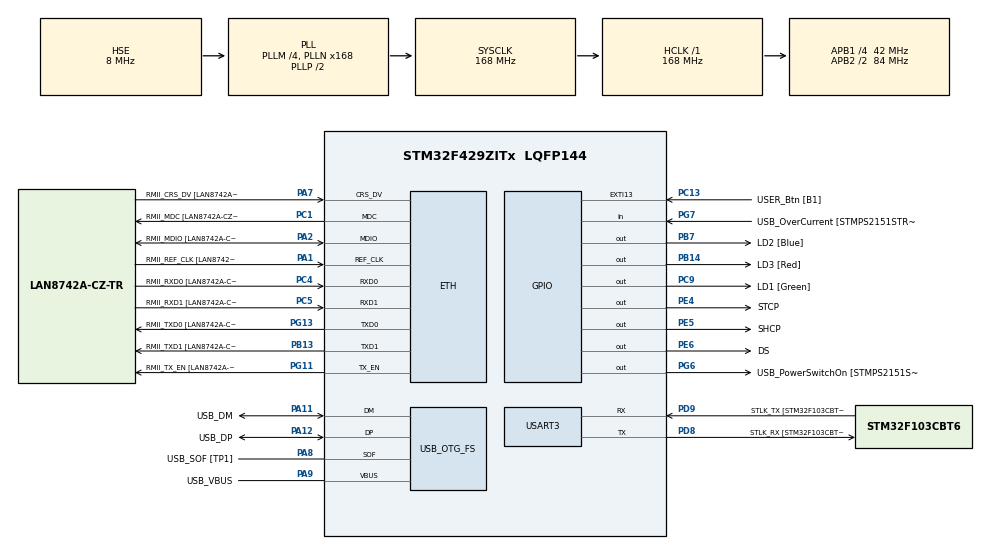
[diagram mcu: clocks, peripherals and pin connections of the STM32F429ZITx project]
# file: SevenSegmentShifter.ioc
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ETH.MediaInterface=ETH_MEDIA_INTERFACE_RMII
ETH.PHY_Name=LAN8742A_PHY_ADDRESS
ETH.PHY_Value=0
ETH.PhyAddress=0
FREERTOS.Tasks01=defaultTask,0,128,StartDefaultTask,Default,NULL
Mcu.Family=STM32F4
Mcu.Name=STM32F429ZITx
Mcu.Package=LQFP144
NVIC.PriorityGroup=NVIC_PRIORITYGROUP_4
NVIC.TIM1_UP_TIM10_IRQn=true\:0\:0\:false\:false\:true\:false\:false
NVIC.TimeBase=TIM1_UP_TIM10_IRQn
NVIC.TimeBaseIP=TIM1
PA1.GPIO_Label=RMII_REF_CLK [LAN8742A-CZ-TR_REFCLK0]
PA1.Mode=RMII
PA1.Signal=ETH_REF_CLK
PA10.GPIO_Label=USB_ID
PA10.Signal=USB_OTG_FS_ID
PA11.GPIO_Label=USB_DM
PA11.Mode=Device_Only
PA11.Signal=USB_OTG_FS_DM
PA12.GPIO_Label=USB_DP
PA12.Mode=Device_Only
PA12.Signal=USB_OTG_FS_DP
PA13.GPIO_Label=TMS
PA13.Mode=Serial_Wire
PA13.Signal=SYS_JTMS-SWDIO
PA14.GPIO_Label=TCK
PA14.Mode=Serial_Wire
PA14.Signal=SYS_JTCK-SWCLK
PA2.GPIO_Label=RMII_MDIO [LAN8742A-CZ-TR_MDIO]
PA2.Mode=RMII
PA2.Signal=ETH_MDIO
PA7.GPIO_Label=RMII_CRS_DV [LAN8742A-CZ-TR_CRS_DV]
PA7.Mode=RMII
PA7.Signal=ETH_CRS_DV
PA8.GPIO_Label=USB_SOF [TP1]
PA8.Mode=Activate_SOF_FS
PA8.Signal=USB_OTG_FS_SOF
PA9.GPIO_Label=USB_VBUS
PA9.Mode=Activate_VBUS
PA9.Signal=USB_OTG_FS_VBUS
PB13.GPIO_Label=RMII_TXD1 [LAN8742A-CZ-TR_TXD1]
PB13.Mode=RMII
PB13.Signal=ETH_TXD1
PB14.GPIO_Label=LD3 [Red]
PB14.Signal=GPIO_Output
PB7.GPIO_Label=LD2 [Blue]
PB7.Signal=GPIO_Output
PC1.GPIO_Label=RMII_MDC [LAN8742A-CZ-TR_MDC]
PC1.Mode=RMII
PC1.Signal=ETH_MDC
PC13.GPIO_Label=USER_Btn [B1]
PC13.Signal=GPXTI13
PC14/OSC32_IN.Mode=LSE-External-Oscillator
PC14/OSC32_IN.Signal=RCC_OSC32_IN
PC15/OSC32_OUT.Mode=LSE-External-Oscillator
PC15/OSC32_OUT.Signal=RCC_OSC32_OUT
PC4.GPIO_Label=RMII_RXD0 [LAN8742A-CZ-TR_RXD0]
PC4.Mode=RMII
PC4.Signal=ETH_RXD0
PC5.GPIO_Label=RMII_RXD1 [LAN8742A-CZ-TR_RXD1]
PC5.Mode=RMII
PC5.Signal=ETH_RXD1
PC9.GPIO_Label=LD1 [Green]
PC9.Signal=GPIO_Output
PD8.GPIO_Label=STLK_RX [STM32F103CBT6_PA3]
PD8.Mode=Asynchronous
PD8.Signal=USART3_TX
PD9.GPIO_Label=STLK_TX [STM32F103CBT6_PA2]
PD9.Mode=Asynchronous
PD9.Signal=USART3_RX
PE4.GPIO_Label=STCP
PE4.Signal=GPIO_Output
PE5.GPIO_Label=SHCP
PE5.Signal=GPIO_Output
PE6.GPIO_Label=DS
PE6.Signal=GPIO_Output
PG11.GPIO_Label=RMII_TX_EN [LAN8742A-CZ-TR_TXEN]
PG11.Mode=RMII
PG11.Signal=ETH_TX_EN
PG13.GPIO_Label=RMII_TXD0 [LAN8742A-CZ-TR_TXD0]
PG13.Mode=RMII
PG13.Signal=ETH_TXD0
PG6.GPIO_Label=USB_PowerSwitchOn [STMPS2151STR_EN]
PG6.Signal=GPIO_Output
PG7.GPIO_Label=USB_OverCurrent [STMPS2151STR_FAULT]
PG7.Signal=GPIO_Input
PH0/OSC_IN.GPIO_Label=MCO [STM32F103CBT6_PA8]
PH0/OSC_IN.Mode=HSE-External-Clock-Source
PH0/OSC_IN.Signal=RCC_OSC_IN
PH1/OSC_OUT.Mode=HSE-External-Clock-Source
PH1/OSC_OUT.Signal=RCC_OSC_OUT
ProjectManager.HeapSize=0x200
ProjectManager.StackSize=0x400
ProjectManager.TargetToolchain=SW4STM32
RCC.48MHZClocksFreq_Value=48000000
RCC.AHBFreq_Value=168000000
RCC.APB1CLKDivider=RCC_HCLK_DIV4
RCC.APB1Freq_Value=42000000
RCC.APB1TimFreq_Value=84000000
RCC.APB2CLKDivider=RCC_HCLK_DIV2
RCC.APB2Freq_Value=84000000
RCC.APB2TimCLKDivider=2
RCC.APB2TimFreq_Value=168000000
RCC.CortexFreq_Value=168000000
RCC.HCLKFreq_Value=168000000
RCC.HSE_VALUE=8000000
RCC.HSI_VALUE=16000000
RCC.PLLM=4
RCC.PLLMUL=RCC_PLL_MUL9
RCC.PLLN=168
RCC.PLLQ=7
RCC.PRESCALERUSB=RCC_USBCLKSOURCE_PLL_DIV1_5
RCC.SYSCLKFreq_VALUE=168000000
RCC.SYSCLKSource=RCC_SYSCLKSOURCE_PLLCLK
RCC.SYSCLKSourceVirtual=RCC_SYSCLKSOURCE_PLLCLK
RCC.USBFreq_Value=48000000
RCC.VCOOutputFreq_Value=336000000
USART3.VirtualMode=VM_ASYNC
USB_OTG_FS.VirtualMode=Device_Only
VP_FREERTOS_VS_ENABLE.Mode=Enabled
VP_SYS_VS_tim1.Mode=TIM1
board=NUCLEO-F429ZI

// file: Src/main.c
/* USER CODE BEGIN Header */
/**
  ******************************************************************************
  * @file           : main.c
  * @brief          : Main program body
  ******************************************************************************
  * This notice applies to any and all portions of this file
  * that are not between comment pairs USER CODE BEGIN and
  * USER CODE END. Other portions of this file, whether
  * inserted by the user or by software development tools
  * are owned by their respective copyright owners.
  *
  * Copyright (c) 2019 STMicroelectronics International N.V.
  * All rights reserved.
  *
  * Redistribution and use in source and binary forms, with or without
  * modification, are permitted, provided that the following conditions are met:
  *
  * 1. Redistribution of source code must retain the above copyright notice,
  *    this list of conditions and the following disclaimer.
  * 2. Redistributions in binary form must reproduce the above copyright notice,
  *    this list of conditions and the following disclaimer in the documentation
  *    and/or other materials provided with the distribution.
  * 3. Neither the name of STMicroelectronics nor the names of other
  *    contributors to this software may be used to endorse or promote products
  *    derived from this software without specific written permission.
  * 4. This software, including modifications and/or derivative works of this
  *    software, must execute solely and exclusively on microcontroller or
  *    microprocessor devices manufactured by or for STMicroelectronics.
  * 5. Redistribution and use of this software other than as permitted under
  *    this license is void and will automatically terminate your rights under
  *    this license.
  *
  * THIS SOFTWARE IS PROVIDED BY STMICROELECTRONICS AND CONTRIBUTORS "AS IS"
  * AND ANY EXPRESS, IMPLIED OR STATUTORY WARRANTIES, INCLUDING, BUT NOT
  * LIMITED TO, THE IMPLIED WARRANTIES OF MERCHANTABILITY, FITNESS FOR A
  * PARTICULAR PURPOSE AND NON-INFRINGEMENT OF THIRD PARTY INTELLECTUAL PROPERTY
  * RIGHTS ARE DISCLAIMED TO THE FULLEST EXTENT PERMITTED BY LAW. IN NO EVENT
  * SHALL STMICROELECTRONICS OR CONTRIBUTORS BE LIABLE FOR ANY DIRECT, INDIRECT,
  * INCIDENTAL, SPECIAL, EXEMPLARY, OR CONSEQUENTIAL DAMAGES (INCLUDING, BUT NOT
  * LIMITED TO, PROCUREMENT OF SUBSTITUTE GOODS OR SERVICES; LOSS OF USE, DATA,
  * OR PROFITS; OR BUSINESS INTERRUPTION) HOWEVER CAUSED AND ON ANY THEORY OF
  * LIABILITY, WHETHER IN CONTRACT, STRICT LIABILITY, OR TORT (INCLUDING
  * NEGLIGENCE OR OTHERWISE) ARISING IN ANY WAY OUT OF THE USE OF THIS SOFTWARE,
  * EVEN IF ADVISED OF THE POSSIBILITY OF SUCH DAMAGE.
  *
  ******************************************************************************
  */
/* USER CODE END Header */

#include "main.h"
#include "cmsis_os.h"

/* USER CODE BEGIN Includes */
#include <stdlib.h>
#include <stdbool.h>

/* USER CODE END Includes */

ETH_HandleTypeDef heth;

UART_HandleTypeDef huart3;

PCD_HandleTypeDef hpcd_USB_OTG_FS;

osThreadId defaultTaskHandle;

void SystemClock_Config(void);
static void MX_GPIO_Init(void);
static void MX_ETH_Init(void);
static void MX_USART3_UART_Init(void);
static void MX_USB_OTG_FS_PCD_Init(void);
void StartDefaultTask(void const * argument);

/* USER CODE BEGIN 0 */
#define LED_DELAY 400

// cubemx has incorrect mapping for f429zi  green led
//#define GREEN_LED_PIN LD1_Pin
//#define GREEN_BANK    LD1_GPIO_Port
#define GREEN_LED_PIN GPIO_PIN_0
#define GREEN_BANK    GPIOB

#define BLUE_LED_PIN LD2_Pin
#define BLUE_BANK    LD2_GPIO_Port

#define RED_LED_PIN LD3_Pin
#define RED_BANK    LD3_GPIO_Port

void blink(GPIO_TypeDef * bank, uint16_t pin, int16_t count, int16_t delay){
    for(int16_t i = 0; i < count; i++) {
        HAL_GPIO_WritePin(bank, pin, GPIO_PIN_SET);
        HAL_Delay(delay);
        HAL_GPIO_WritePin(bank, pin, GPIO_PIN_RESET);
        HAL_Delay(delay);
    }
}

void blinkOnGreenDelay(int16_t count, int16_t delay) { blink(GREEN_BANK, GREEN_LED_PIN, count, delay); }
void blinkOnGreen(int16_t count) { blinkOnGreenDelay(count, LED_DELAY); }

void blinkOnRedDelay(int16_t count, int16_t delay) { blink(RED_BANK, RED_LED_PIN, count, delay); }
void blinkOnRed(int16_t count) { blinkOnRedDelay(count, LED_DELAY); }

void blinkOnBlueDelay(int16_t count, int16_t delay) { blink(BLUE_BANK, BLUE_LED_PIN, count, delay); }
void blinkOnBlue(int16_t count) { blinkOnBlueDelay(count, LED_DELAY); }

//

uint8_t table[] =
        { 0x3f, 0x06, 0x5b, 0x4f,
          0x66, 0x6d, 0x7d, 0x07,
          0x7f, 0x6f, 0x77, 0x7c,
          0x39, 0x5e, 0x79, 0x71,
          0x00 };

void shiftOut(GPIO_TypeDef * dataBank, uint16_t dataPin,
              GPIO_TypeDef * clockBank, uint16_t clockPin,
              bool MSBFIRST, uint8_t val) {
    uint8_t i;

    for (i = 0; i < 8; i++) {
        if(MSBFIRST) {
            HAL_GPIO_WritePin(dataBank, dataPin, !!(val & (1 << (7 - i))));
        }
        else {
            HAL_GPIO_WritePin(dataBank, dataPin, !!(val & (1 << i)));
        }

        // pulse the clock pin (at least one HAL_Delay(1) is neeeded)
        HAL_GPIO_WritePin(clockBank, clockPin, GPIO_PIN_SET);
        HAL_Delay(1);
        HAL_GPIO_WritePin(clockBank, clockPin, GPIO_PIN_RESET);
        HAL_Delay(1);
    }
}

void display(uint8_t num) {

    HAL_GPIO_WritePin(STCP_GPIO_Port, STCP_Pin, GPIO_PIN_RESET);

    uint8_t value = table[num];

    shiftOut(DS_GPIO_Port, DS_Pin,
             SHCP_GPIO_Port, SHCP_Pin,
             true,
             value
    );

    HAL_GPIO_WritePin(STCP_GPIO_Port, STCP_Pin, GPIO_PIN_SET);
}

/* USER CODE END 0 */

int main(void)
{

  /* MCU Configuration--------------------------------------------------------*/

  /* Reset of all peripherals, Initializes the Flash interface and the Systick. */
  HAL_Init();

  /* Configure the system clock */
  SystemClock_Config();

  /* Initialize all configured peripherals */
  MX_GPIO_Init();
  MX_ETH_Init();
  MX_USART3_UART_Init();
  MX_USB_OTG_FS_PCD_Init();

  /* Create the thread(s) */
  /* definition and creation of defaultTask */
  osThreadDef(defaultTask, StartDefaultTask, osPriorityNormal, 0, 128);
  defaultTaskHandle = osThreadCreate(osThread(defaultTask), NULL);

  /* USER CODE BEGIN RTOS_THREADS */
  /* add threads, ... */
    if(defaultTaskHandle == NULL) {
        blinkOnRedDelay(10, 100);
        exit(-1);
    }
  /* USER CODE END RTOS_THREADS */

  /* Start scheduler */
  osKernelStart();

  /* We should never get here as control is now taken by the scheduler */

  /* Infinite loop */
  while (1)
  {

  }
}

void SystemClock_Config(void)
{
  RCC_OscInitTypeDef RCC_OscInitStruct = {0};
  RCC_ClkInitTypeDef RCC_ClkInitStruct = {0};

  /**Configure the main internal regulator output voltage
  */
  __HAL_RCC_PWR_CLK_ENABLE();
  __HAL_PWR_VOLTAGESCALING_CONFIG(PWR_REGULATOR_VOLTAGE_SCALE1);
  /**Initializes the CPU, AHB and APB busses clocks
  */
  RCC_OscInitStruct.OscillatorType = RCC_OSCILLATORTYPE_HSE;
  RCC_OscInitStruct.HSEState = RCC_HSE_BYPASS;
  RCC_OscInitStruct.PLL.PLLState = RCC_PLL_ON;
  RCC_OscInitStruct.PLL.PLLSource = RCC_PLLSOURCE_HSE;
  RCC_OscInitStruct.PLL.PLLM = 4;
  RCC_OscInitStruct.PLL.PLLN = 168;
  RCC_OscInitStruct.PLL.PLLP = RCC_PLLP_DIV2;
  RCC_OscInitStruct.PLL.PLLQ = 7;
  if (HAL_RCC_OscConfig(&RCC_OscInitStruct) != HAL_OK)
  {
    Error_Handler();
  }
  /**Initializes the CPU, AHB and APB busses clocks
  */
  RCC_ClkInitStruct.ClockType = RCC_CLOCKTYPE_HCLK|RCC_CLOCKTYPE_SYSCLK
                              |RCC_CLOCKTYPE_PCLK1|RCC_CLOCKTYPE_PCLK2;
  RCC_ClkInitStruct.SYSCLKSource = RCC_SYSCLKSOURCE_PLLCLK;
  RCC_ClkInitStruct.AHBCLKDivider = RCC_SYSCLK_DIV1;
  RCC_ClkInitStruct.APB1CLKDivider = RCC_HCLK_DIV4;
  RCC_ClkInitStruct.APB2CLKDivider = RCC_HCLK_DIV2;

  if (HAL_RCC_ClockConfig(&RCC_ClkInitStruct, FLASH_LATENCY_5) != HAL_OK)
  {
    Error_Handler();
  }
}

static void MX_ETH_Init(void)
{

   uint8_t MACAddr[6] ;

  heth.Instance = ETH;
  heth.Init.AutoNegotiation = ETH_AUTONEGOTIATION_ENABLE;
  heth.Init.PhyAddress = LAN8742A_PHY_ADDRESS;
  MACAddr[0] = 0x00;
  MACAddr[1] = 0x80;
  MACAddr[2] = 0xE1;
  MACAddr[3] = 0x00;
  MACAddr[4] = 0x00;
  MACAddr[5] = 0x00;
  heth.Init.MACAddr = &MACAddr[0];
  heth.Init.RxMode = ETH_RXPOLLING_MODE;
  heth.Init.ChecksumMode = ETH_CHECKSUM_BY_HARDWARE;
  heth.Init.MediaInterface = ETH_MEDIA_INTERFACE_RMII;

  if (HAL_ETH_Init(&heth) != HAL_OK)
  {
    Error_Handler();
  }

}

static void MX_USART3_UART_Init(void)
{

  huart3.Instance = USART3;
  huart3.Init.BaudRate = 115200;
  huart3.Init.WordLength = UART_WORDLENGTH_8B;
  huart3.Init.StopBits = UART_STOPBITS_1;
  huart3.Init.Parity = UART_PARITY_NONE;
  huart3.Init.Mode = UART_MODE_TX_RX;
  huart3.Init.HwFlowCtl = UART_HWCONTROL_NONE;
  huart3.Init.OverSampling = UART_OVERSAMPLING_16;
  if (HAL_UART_Init(&huart3) != HAL_OK)
  {
    Error_Handler();
  }

}

static void MX_USB_OTG_FS_PCD_Init(void)
{

  hpcd_USB_OTG_FS.Instance = USB_OTG_FS;
  hpcd_USB_OTG_FS.Init.dev_endpoints = 4;
  hpcd_USB_OTG_FS.Init.speed = PCD_SPEED_FULL;
  hpcd_USB_OTG_FS.Init.dma_enable = DISABLE;
  hpcd_USB_OTG_FS.Init.ep0_mps = DEP0CTL_MPS_64;
  hpcd_USB_OTG_FS.Init.phy_itface = PCD_PHY_EMBEDDED;
  hpcd_USB_OTG_FS.Init.Sof_enable = ENABLE;
  hpcd_USB_OTG_FS.Init.low_power_enable = DISABLE;
  hpcd_USB_OTG_FS.Init.lpm_enable = DISABLE;
  hpcd_USB_OTG_FS.Init.vbus_sensing_enable = ENABLE;
  hpcd_USB_OTG_FS.Init.use_dedicated_ep1 = DISABLE;
  if (HAL_PCD_Init(&hpcd_USB_OTG_FS) != HAL_OK)
  {
    Error_Handler();
  }

}

static void MX_GPIO_Init(void)
{
  GPIO_InitTypeDef GPIO_InitStruct = {0};

  /* GPIO Ports Clock Enable */
  __HAL_RCC_GPIOE_CLK_ENABLE();
  __HAL_RCC_GPIOC_CLK_ENABLE();
  __HAL_RCC_GPIOH_CLK_ENABLE();
  __HAL_RCC_GPIOA_CLK_ENABLE();
  __HAL_RCC_GPIOB_CLK_ENABLE();
  __HAL_RCC_GPIOD_CLK_ENABLE();
  __HAL_RCC_GPIOG_CLK_ENABLE();

  /*Configure GPIO pin Output Level */
  HAL_GPIO_WritePin(GPIOE, STCP_Pin|SHCP_Pin|DS_Pin, GPIO_PIN_RESET);

  /*Configure GPIO pin Output Level */
  HAL_GPIO_WritePin(GPIOB, LD3_Pin|LD2_Pin, GPIO_PIN_RESET);

  /*Configure GPIO pin Output Level */
  HAL_GPIO_WritePin(USB_PowerSwitchOn_GPIO_Port, USB_PowerSwitchOn_Pin, GPIO_PIN_RESET);

  /*Configure GPIO pin Output Level */
  HAL_GPIO_WritePin(LD1_GPIO_Port, LD1_Pin, GPIO_PIN_RESET);

  /*Configure GPIO pins : STCP_Pin SHCP_Pin DS_Pin */
  GPIO_InitStruct.Pin = STCP_Pin|SHCP_Pin|DS_Pin;
  GPIO_InitStruct.Mode = GPIO_MODE_OUTPUT_PP;
  GPIO_InitStruct.Pull = GPIO_NOPULL;
  GPIO_InitStruct.Speed = GPIO_SPEED_FREQ_LOW;
  HAL_GPIO_Init(GPIOE, &GPIO_InitStruct);

  /*Configure GPIO pin : USER_Btn_Pin */
  GPIO_InitStruct.Pin = USER_Btn_Pin;
  GPIO_InitStruct.Mode = GPIO_MODE_IT_RISING;
  GPIO_InitStruct.Pull = GPIO_NOPULL;
  HAL_GPIO_Init(USER_Btn_GPIO_Port, &GPIO_InitStruct);

  /*Configure GPIO pins : LD3_Pin LD2_Pin */
  GPIO_InitStruct.Pin = LD3_Pin|LD2_Pin;
  GPIO_InitStruct.Mode = GPIO_MODE_OUTPUT_PP;
  GPIO_InitStruct.Pull = GPIO_NOPULL;
  GPIO_InitStruct.Speed = GPIO_SPEED_FREQ_LOW;
  HAL_GPIO_Init(GPIOB, &GPIO_InitStruct);

  /*Configure GPIO pin : USB_PowerSwitchOn_Pin */
  GPIO_InitStruct.Pin = USB_PowerSwitchOn_Pin;
  GPIO_InitStruct.Mode = GPIO_MODE_OUTPUT_PP;
  GPIO_InitStruct.Pull = GPIO_NOPULL;
  GPIO_InitStruct.Speed = GPIO_SPEED_FREQ_LOW;
  HAL_GPIO_Init(USB_PowerSwitchOn_GPIO_Port, &GPIO_InitStruct);

  /*Configure GPIO pin : USB_OverCurrent_Pin */
  GPIO_InitStruct.Pin = USB_OverCurrent_Pin;
  GPIO_InitStruct.Mode = GPIO_MODE_INPUT;
  GPIO_InitStruct.Pull = GPIO_NOPULL;
  HAL_GPIO_Init(USB_OverCurrent_GPIO_Port, &GPIO_InitStruct);

  /*Configure GPIO pin : LD1_Pin */
  GPIO_InitStruct.Pin = LD1_Pin;
  GPIO_InitStruct.Mode = GPIO_MODE_OUTPUT_PP;
  GPIO_InitStruct.Pull = GPIO_NOPULL;
  GPIO_InitStruct.Speed = GPIO_SPEED_FREQ_LOW;
  HAL_GPIO_Init(LD1_GPIO_Port, &GPIO_InitStruct);

}

void StartDefaultTask(void const * argument)
{

  /* USER CODE BEGIN 5 */
  /* Infinite loop */

  for(;;)
  {
      for(int i = 0; i < 16; i++) {
          display(i);
          osDelay(300);
      }
  }
  /* USER CODE END 5 */
}

void HAL_TIM_PeriodElapsedCallback(TIM_HandleTypeDef *htim)
{
  if (htim->Instance == TIM1) {
    HAL_IncTick();
  }
}

void Error_Handler(void)
{
}

/************************ (C) COPYRIGHT STMicroelectronics *****END OF FILE****/
